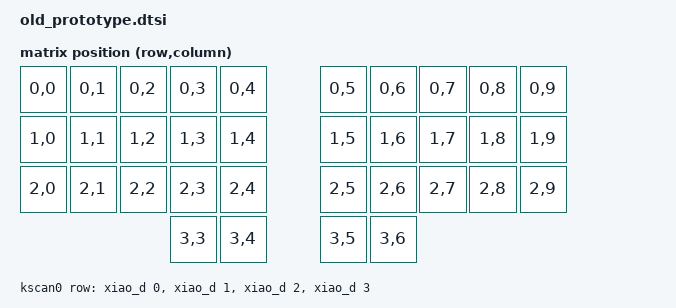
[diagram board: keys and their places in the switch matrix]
/*
 * Breakout prototype PCB (hand-soldered XIAOs, no hotswap), ESB split.
 * Matrix as in firmware/ble/; the board has PS/2 trackpoint pads but none are
 * fitted, so there is no pointing hardware here.
 */
#include <dt-bindings/zmk/matrix_transform.h>

/ {
    chosen {
        zmk,kscan = &kscan0;
        zmk,matrix-transform = &default_transform;
    };

    /* ESB split transport address config (same on dongle and halves) */
    esb_split {
        compatible = "zmk,esb-split";
        base-addr-0 = <0xE7 0xE7 0xE7 0xE7>;
        base-addr-1 = <0xC2 0xC2 0xC2 0xC2>;
        addr-prefix = <0xE7 0xC2 0xC3 0xC4 0xC5 0xC6 0xC7 0xC8>;
    };

    default_transform: keymap_transform_0 {
        compatible = "zmk,matrix-transform";
        columns = <10>;
        rows = <4>;
        map = <
                RC(0,0) RC(0,1) RC(0,2) RC(0,3) RC(0,4)    RC(0,5) RC(0,6) RC(0,7) RC(0,8) RC(0,9)
                RC(1,0) RC(1,1) RC(1,2) RC(1,3) RC(1,4)    RC(1,5) RC(1,6) RC(1,7) RC(1,8) RC(1,9)
                RC(2,0) RC(2,1) RC(2,2) RC(2,3) RC(2,4)    RC(2,5) RC(2,6) RC(2,7) RC(2,8) RC(2,9)
                                        RC(3,3) RC(3,4)    RC(3,5) RC(3,6)
        >;
    };

    kscan0: kscan_0 {
        compatible = "zmk,kscan-gpio-matrix";
        wakeup-source;  /* deep sleep: any key wakes the half */
        diode-direction = "col2row";
        row-gpios
            = <&xiao_d 0 (GPIO_ACTIVE_HIGH | GPIO_PULL_DOWN)>
            , <&xiao_d 1 (GPIO_ACTIVE_HIGH | GPIO_PULL_DOWN)>
            , <&xiao_d 2 (GPIO_ACTIVE_HIGH | GPIO_PULL_DOWN)>
            , <&xiao_d 3 (GPIO_ACTIVE_HIGH | GPIO_PULL_DOWN)>
            ;
    };
};
